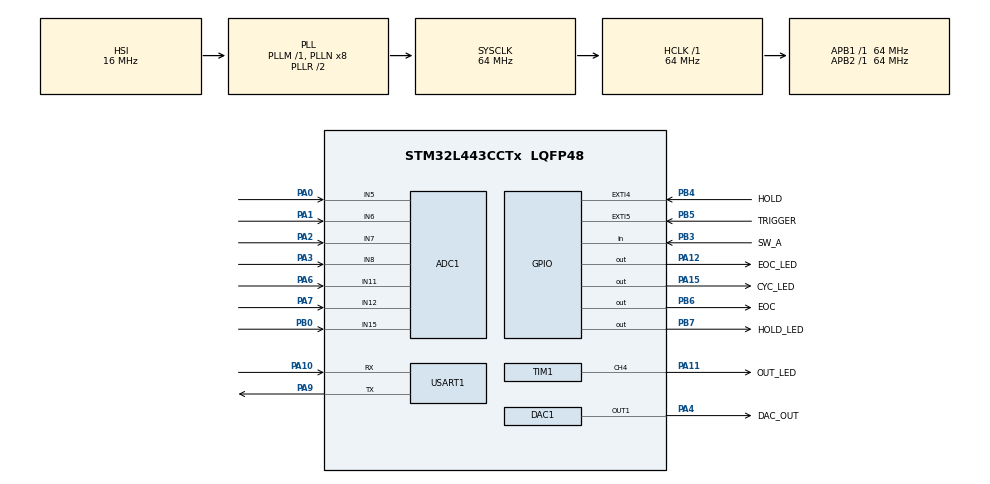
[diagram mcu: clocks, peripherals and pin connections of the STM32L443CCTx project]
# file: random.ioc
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ADC1.Channel-0\#ChannelRegularConversion=ADC_CHANNEL_5
ADC1.Channel-1\#ChannelRegularConversion=ADC_CHANNEL_6
ADC1.Channel-2\#ChannelRegularConversion=ADC_CHANNEL_7
ADC1.Channel-3\#ChannelRegularConversion=ADC_CHANNEL_8
ADC1.Channel-4\#ChannelRegularConversion=ADC_CHANNEL_11
ADC1.Channel-5\#ChannelRegularConversion=ADC_CHANNEL_12
ADC1.Channel-6\#ChannelRegularConversion=ADC_CHANNEL_15
ADC1.ClockPrescaler=ADC_CLOCK_ASYNC_DIV4
ADC1.DMAContinuousRequests=ENABLE
ADC1.EOCSelection=ADC_EOC_SINGLE_CONV
ADC1.ExternalTrigConv=ADC_EXTERNALTRIG_T2_TRGO
ADC1.NbrOfConversion=7
ADC1.NbrOfConversionFlag=1
ADC1.OffsetNumber-0\#ChannelRegularConversion=ADC_OFFSET_NONE
ADC1.OffsetNumber-1\#ChannelRegularConversion=ADC_OFFSET_NONE
ADC1.OffsetNumber-2\#ChannelRegularConversion=ADC_OFFSET_NONE
ADC1.OffsetNumber-3\#ChannelRegularConversion=ADC_OFFSET_NONE
ADC1.OffsetNumber-4\#ChannelRegularConversion=ADC_OFFSET_NONE
ADC1.OffsetNumber-5\#ChannelRegularConversion=ADC_OFFSET_NONE
ADC1.OffsetNumber-6\#ChannelRegularConversion=ADC_OFFSET_NONE
ADC1.OversamplingMode=DISABLE
ADC1.Rank-0\#ChannelRegularConversion=1
ADC1.Rank-1\#ChannelRegularConversion=2
ADC1.Rank-2\#ChannelRegularConversion=3
ADC1.Rank-3\#ChannelRegularConversion=4
ADC1.Rank-4\#ChannelRegularConversion=5
ADC1.Rank-5\#ChannelRegularConversion=6
ADC1.Rank-6\#ChannelRegularConversion=7
ADC1.SamplingTime-0\#ChannelRegularConversion=ADC_SAMPLETIME_6CYCLES_5
ADC1.SamplingTime-1\#ChannelRegularConversion=ADC_SAMPLETIME_6CYCLES_5
ADC1.SamplingTime-2\#ChannelRegularConversion=ADC_SAMPLETIME_6CYCLES_5
ADC1.SamplingTime-3\#ChannelRegularConversion=ADC_SAMPLETIME_6CYCLES_5
ADC1.SamplingTime-4\#ChannelRegularConversion=ADC_SAMPLETIME_6CYCLES_5
ADC1.SamplingTime-5\#ChannelRegularConversion=ADC_SAMPLETIME_6CYCLES_5
ADC1.SamplingTime-6\#ChannelRegularConversion=ADC_SAMPLETIME_6CYCLES_5
ADC1.master=1
DAC1.DAC_Trigger-DAC_OUT1_ExtAndInt=DAC_TRIGGER_T2_TRGO
Dma.ADC1.2.Direction=DMA_PERIPH_TO_MEMORY
Dma.ADC1.2.Instance=DMA1_Channel1
Dma.ADC1.2.MemDataAlignment=DMA_MDATAALIGN_HALFWORD
Dma.ADC1.2.MemInc=DMA_MINC_ENABLE
Dma.ADC1.2.Mode=DMA_CIRCULAR
Dma.ADC1.2.PeriphDataAlignment=DMA_PDATAALIGN_HALFWORD
Dma.ADC1.2.PeriphInc=DMA_PINC_DISABLE
Dma.ADC1.2.Priority=DMA_PRIORITY_MEDIUM
Dma.DAC_CH1.3.Direction=DMA_MEMORY_TO_PERIPH
Dma.DAC_CH1.3.Instance=DMA1_Channel3
Dma.DAC_CH1.3.MemDataAlignment=DMA_MDATAALIGN_HALFWORD
Dma.DAC_CH1.3.MemInc=DMA_MINC_ENABLE
Dma.DAC_CH1.3.Mode=DMA_NORMAL
Dma.DAC_CH1.3.PeriphDataAlignment=DMA_PDATAALIGN_HALFWORD
Dma.DAC_CH1.3.PeriphInc=DMA_PINC_DISABLE
Dma.DAC_CH1.3.Priority=DMA_PRIORITY_MEDIUM
Dma.Request0=USART1_RX
Dma.Request1=USART1_TX
Dma.Request2=ADC1
Dma.Request3=DAC_CH1
Dma.USART1_RX.0.Direction=DMA_PERIPH_TO_MEMORY
Dma.USART1_RX.0.Instance=DMA1_Channel5
Dma.USART1_RX.0.MemDataAlignment=DMA_MDATAALIGN_BYTE
Dma.USART1_RX.0.MemInc=DMA_MINC_ENABLE
Dma.USART1_RX.0.Mode=DMA_NORMAL
Dma.USART1_RX.0.PeriphDataAlignment=DMA_PDATAALIGN_BYTE
Dma.USART1_RX.0.PeriphInc=DMA_PINC_DISABLE
Dma.USART1_RX.0.Priority=DMA_PRIORITY_LOW
Dma.USART1_TX.1.Direction=DMA_MEMORY_TO_PERIPH
Dma.USART1_TX.1.Instance=DMA1_Channel4
Dma.USART1_TX.1.MemDataAlignment=DMA_MDATAALIGN_BYTE
Dma.USART1_TX.1.MemInc=DMA_MINC_ENABLE
Dma.USART1_TX.1.Mode=DMA_NORMAL
Dma.USART1_TX.1.PeriphDataAlignment=DMA_PDATAALIGN_BYTE
Dma.USART1_TX.1.PeriphInc=DMA_PINC_DISABLE
Dma.USART1_TX.1.Priority=DMA_PRIORITY_LOW
Mcu.Family=STM32L4
Mcu.Name=STM32L443CCTx
Mcu.Package=LQFP48
NVIC.ADC1_IRQn=true\:0\:0\:false\:false\:true\:true\:true
NVIC.DMA1_Channel1_IRQn=true\:0\:0\:false\:false\:true\:false\:true
NVIC.DMA1_Channel3_IRQn=true\:0\:0\:false\:false\:true\:false\:true
NVIC.DMA1_Channel4_IRQn=true\:0\:0\:false\:false\:true\:false\:true
NVIC.DMA1_Channel5_IRQn=true\:0\:0\:false\:false\:true\:false\:true
NVIC.EXTI4_IRQn=true\:3\:0\:true\:false\:true\:true\:true
NVIC.EXTI9_5_IRQn=true\:3\:0\:true\:false\:true\:true\:true
NVIC.PriorityGroup=NVIC_PRIORITYGROUP_4
NVIC.TIM2_IRQn=true\:0\:0\:false\:false\:true\:true\:true
NVIC.TIM6_DAC_IRQn=true\:0\:0\:false\:false\:true\:true\:true
NVIC.USART1_IRQn=true\:4\:0\:true\:false\:true\:true\:true
PA0.Signal=ADCx_IN5
PA1.Signal=ADCx_IN6
PA10.Mode=Asynchronous
PA10.Signal=USART1_RX
PA11.GPIO_Label=OUT_LED
PA11.Signal=S_TIM1_CH4
PA12.GPIO_Label=EOC_LED
PA12.Signal=GPIO_Output
PA13\ (JTMS-SWDIO).Mode=Serial_Wire
PA13\ (JTMS-SWDIO).Signal=SYS_JTMS-SWDIO
PA14\ (JTCK-SWCLK).Mode=Serial_Wire
PA14\ (JTCK-SWCLK).Signal=SYS_JTCK-SWCLK
PA15\ (JTDI).GPIO_Label=CYC_LED
PA15\ (JTDI).Signal=GPIO_Output
PA2.Signal=ADCx_IN7
PA3.Signal=ADCx_IN8
PA4.GPIO_Label=DAC_OUT
PA4.Signal=COMP_DAC11_group
PA6.Signal=ADCx_IN11
PA7.Signal=ADCx_IN12
PA9.Mode=Asynchronous
PA9.Signal=USART1_TX
PB0.Signal=ADCx_IN15
PB3\ (JTDO-TRACESWO).GPIO_Label=SW_A
PB3\ (JTDO-TRACESWO).GPIO_PuPd=GPIO_PULLUP
PB3\ (JTDO-TRACESWO).Signal=GPIO_Input
PB4\ (NJTRST).GPIO_Label=HOLD
PB4\ (NJTRST).GPIO_ModeDefaultEXTI=GPIO_MODE_IT_RISING_FALLING
PB4\ (NJTRST).Signal=GPXTI4
PB5.GPIO_Label=TRIGGER
PB5.GPIO_ModeDefaultEXTI=GPIO_MODE_IT_RISING_FALLING
PB5.Signal=GPXTI5
PB6.GPIO_Label=EOC
PB6.Signal=GPIO_Output
PB7.GPIO_Label=HOLD_LED
PB7.Signal=GPIO_Output
ProjectManager.HeapSize=0x200
ProjectManager.StackSize=0x400
ProjectManager.TargetToolchain=Makefile
RCC.ADCFreq_Value=64000000
RCC.AHBFreq_Value=64000000
RCC.APB1Freq_Value=64000000
RCC.APB1TimFreq_Value=64000000
RCC.APB2Freq_Value=64000000
RCC.APB2TimFreq_Value=64000000
RCC.CortexFreq_Value=64000000
RCC.HCLKFreq_Value=64000000
RCC.HSE_VALUE=8000000
RCC.HSI48_VALUE=48000000
RCC.HSI_VALUE=16000000
RCC.LSE_VALUE=32768
RCC.MSI_VALUE=4000000
RCC.PLLSourceVirtual=RCC_PLLSOURCE_HSI
RCC.SYSCLKFreq_VALUE=64000000
RCC.SYSCLKSource=RCC_SYSCLKSOURCE_PLLCLK
RCC.USBFreq_Value=64000000
RCC.VCOOutputFreq_Value=128000000
SH.ADCx_IN11.0=ADC1_IN11,IN11-Single-Ended
SH.ADCx_IN12.0=ADC1_IN12,IN12-Single-Ended
SH.ADCx_IN15.0=ADC1_IN15,IN15-Single-Ended
SH.ADCx_IN5.0=ADC1_IN5,IN5-Single-Ended
SH.ADCx_IN6.0=ADC1_IN6,IN6-Single-Ended
SH.ADCx_IN7.0=ADC1_IN7,IN7-Single-Ended
SH.ADCx_IN8.0=ADC1_IN8,IN8-Single-Ended
SH.COMP_DAC11_group.0=DAC1_OUT1,DAC_OUT1_ExtAndInt
SH.S_TIM1_CH4.0=TIM1_CH4,PWM Generation4 CH4
TIM1.Channel-PWM\ Generation4\ CH4=TIM_CHANNEL_4
TIM1.Period=255
TIM1.Prescaler=984
TIM2.Period=1450
TIM2.TIM_MasterOutputTrigger=TIM_TRGO_UPDATE
TIM6.Period=1000
TIM6.TIM_MasterOutputTrigger=TIM_TRGO_UPDATE
TIM7.Period=49000
TIM7.TIM_MasterOutputTrigger=TIM_TRGO_UPDATE
USART1.VirtualMode-Asynchronous=VM_ASYNC
VP_TIM1_VS_ClockSourceINT.Mode=Internal
VP_TIM1_VS_ClockSourceITR.Mode=TriggerSource_ITR1
VP_TIM1_VS_ControllerModeTrigger.Mode=Trigger Mode
VP_TIM2_VS_ClockSourceINT.Mode=Internal
VP_TIM6_VS_ClockSourceINT.Mode=Enable_Timer
VP_TIM7_VS_ClockSourceINT.Mode=Enable_Timer
board=custom

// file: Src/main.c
/* USER CODE BEGIN Header */
/**
  ******************************************************************************
  * @file           : main.c
  * @brief          : Main program body
  ******************************************************************************
  * @attention
  *
  * <h2><center>&copy; Copyright (c) 2019 STMicroelectronics.
  * All rights reserved.</center></h2>
  *
  * This software component is licensed by ST under BSD 3-Clause license,
  * the "License"; You may not use this file except in compliance with the
  * License. You may obtain a copy of the License at:
  *                        opensource.org/licenses/BSD-3-Clause
  *
  ******************************************************************************
  */
/* USER CODE END Header */

#include "main.h"

/* USER CODE BEGIN Includes */
#include <string.h>
#include <math.h>
#include <stdio.h>
#include <stdlib.h>
/* USER CODE END Includes */

/* USER CODE BEGIN PTD */
enum CLI_COMMAND
{
  CLI_ERR,
  CLI_REF,
  CLI_DAC,
  CLI_VOUT,
  CLI_CAL,
  CLI_SAVE,
  CLI_LOAD,
  CLI_SIZE,
  CLI_RESET,
  CLI_HELP
};
/* USER CODE END PTD */

/* USER CODE BEGIN PD */
#define DRAWCSV 0
#define FLASH_USER_ADDR 0x08010000 /* Start @ of user Flash area */
/* USER CODE END PD */

/* USER CODE BEGIN PM */
#define log(M, ...)                                                                   \
  sprintf(uartMessage, "[LOG] (%s:%d) - " M "\n", __FILE__, __LINE__, ##__VA_ARGS__); \
  HAL_UART_Transmit(&huart1, (uint8_t *)uartMessage, strlen(uartMessage), HAL_MAX_DELAY);

#define printcl(M, ...)                               \
  sprintf(uartMessage, "\033[K" M "", ##__VA_ARGS__); \
  HAL_UART_Transmit(&huart1, (uint8_t *)uartMessage, strlen(uartMessage), HAL_MAX_DELAY);

#define print(M, ...)                           \
  sprintf(uartMessage, "" M "", ##__VA_ARGS__); \
  HAL_UART_Transmit(&huart1, (uint8_t *)uartMessage, strlen(uartMessage), HAL_MAX_DELAY);
/* USER CODE END PM */

ADC_HandleTypeDef hadc1;
DMA_HandleTypeDef hdma_adc1;

DAC_HandleTypeDef hdac1;
DMA_HandleTypeDef hdma_dac_ch1;

TIM_HandleTypeDef htim1;
TIM_HandleTypeDef htim2;
TIM_HandleTypeDef htim6;
TIM_HandleTypeDef htim7;

UART_HandleTypeDef huart1;
DMA_HandleTypeDef hdma_usart1_rx;
DMA_HandleTypeDef hdma_usart1_tx;

/* USER CODE BEGIN PV */

volatile GPIO_PinState switchState;
volatile GPIO_PinState triggerState;
volatile GPIO_PinState holdState;
volatile uint8_t outLedVal;
volatile uint16_t adcValues[7];
volatile uint16_t dacValue[1];
uint16_t targetDac;
char uartMessage[255];

volatile uint32_t printTime = 0;
volatile uint32_t trig_Time = 0;
uint8_t TRIGGER_HOLD = 0;
uint8_t RETRIGGER = 0;
uint8_t RANDOM = 2;
uint8_t CYCLE_START = 0;

// Callibration Defines
const int ADC_RESOLUTION = 12;
uint16_t SAMPLES = 50; // 5000

uint16_t MAXADC;                 // maximum possible reading from ADC
float VREF = 3.3;                // ADC reference voltage (= power supply)
float VINPUT = 1.65;             // ADC input voltage from Normalized Jack
int16_t EXPECTED;                // expected ADC reading
int16_t adcCalibration[7] = {0}; // calibration table;
int16_t dacCalibration = 0;
int16_t adcOffset[7] = {0}; // offset table;

#define SEQUENCE_SIZE 16
int16_t sequence[SEQUENCE_SIZE] = {0};
uint8_t triggerSequence[SEQUENCE_SIZE] = {0};
uint8_t currentStep = 0;
uint8_t currentStepTrigger = 0;

uint8_t sequenceFollowTrigger = 0;
uint8_t incrementStep = 0;

float chance = 0.0;
float chance_controls = 0.0;
float range = 0.0;
float range_controls = 0.0;
float offset = 0.0;
float offset_controls = 0.0;

float SAMPLERATE = 0;
const uint32_t TARGET_OFFSET = 127;
/* USER CODE END PV */

void SystemClock_Config(void);
static void MX_GPIO_Init(void);
static void MX_DMA_Init(void);
static void MX_ADC1_Init(void);
static void MX_DAC1_Init(void);
static void MX_TIM1_Init(void);
static void MX_TIM2_Init(void);
static void MX_TIM6_Init(void);
static void MX_TIM7_Init(void);
static void MX_USART1_UART_Init(void);
/* USER CODE BEGIN PFP */
static void LED_introSequence(void);
static GPIO_PinState read_Switch(void);
static void setPWM(uint8_t);

static uint16_t read_ADC_Raw(ADC_Inputs);
static float read_ADC_Normalized(ADC_Inputs);
static float read_ADC_Voltage(ADC_Inputs);
static void Write_Flash(uint32_t, uint32_t *, uint32_t);
static uint32_t Read_Flash(uint32_t);
static uint32_t Get_Page(uint32_t);
static void save_Calibration(void);
static void load_Calibration(void);
/* USER CODE END PFP */

int main(void)
{

  /* MCU Configuration--------------------------------------------------------*/

  /* Reset of all peripherals, Initializes the Flash interface and the Systick. */
  HAL_Init();

  /* Configure the system clock */
  SystemClock_Config();

  /* Initialize all configured peripherals */
  MX_GPIO_Init();
  MX_DMA_Init();
  MX_ADC1_Init();
  MX_DAC1_Init();
  MX_TIM1_Init();
  MX_TIM2_Init();
  MX_TIM6_Init();
  MX_TIM7_Init();
  MX_USART1_UART_Init();
  /* USER CODE BEGIN 2 */
  dacValue[0] = 0;
  MAXADC = (1 << ADC_RESOLUTION) - 1;  // maximum possible reading from ADC
  EXPECTED = MAXADC * (VINPUT / VREF); // expected ADC reading

  SAMPLERATE = HAL_RCC_GetHCLKFreq() / (float)htim2.Init.Period;

  HAL_DAC_Init(&hdac1);
  HAL_TIM_PWM_Start(&htim1, TIM_CHANNEL_4);
  HAL_TIM_Base_Start_IT(&htim2);
  HAL_ADC_Start_DMA(&hadc1, (uint32_t *)adcValues, 7);
  HAL_DAC_Start_DMA(&hdac1, DAC_CHANNEL_1, (uint32_t *)dacValue, 1, DAC_ALIGN_12B_R);

  load_Calibration();
  LED_introSequence();
  outLedVal = 0;

  srand(read_ADC_Raw(ADC_IN_CV) + read_ADC_Raw(ADC_ATTACK_POT));
  for (int i = 0; i < SEQUENCE_SIZE; i++)
  {
    sequence[i] = rand() % MAXADC;
    triggerSequence[i] = rand() % 2;
  }

  /* USER CODE END 2 */

  /* Infinite loop */
  /* USER CODE BEGIN WHILE */
  while (1)
  {
    read_Switch();

    chance = read_ADC_Normalized(ADC_ATTACK_POT) + read_ADC_Normalized(ADC_ATTACK_CV);
    if (chance < 0.0008)
      chance = 0.0;
    if (chance > 1.0)
      chance = 1.0;

    range = read_ADC_Normalized(ADC_RELEASE_POT) + read_ADC_Normalized(ADC_RELEASE_CV);
    if (range < 0.0008)
      range = 0.0;
    if (range > 1.0)
      range = 1.0;

    offset = read_ADC_Normalized(ADC_SHAPE_Pot) + read_ADC_Normalized(ADC_SHAPE_CV);
    if (offset < 0.0008)
      offset = 0.0;
    if (offset > 1.0)
      offset = 1.0;

    //attack_controls = pow(2.0, attack * 10.0 - 10.0) * 10000.0 - 9.76;
    //release_controls = pow(2.0, release * 10.0 - 10.0) * 10000.0 - 0.0;
    /* USER CODE END WHILE */

    if (HAL_GetTick() - trig_Time > 10)
    {
      HAL_GPIO_WritePin(EOC_LED_GPIO_Port, EOC_LED_Pin, GPIO_PIN_RESET);
      HAL_GPIO_WritePin(EOC_GPIO_Port, EOC_Pin, GPIO_PIN_SET);
    }

    /* USER CODE BEGIN 3 */
    outLedVal = targetDac >> 4;
    setPWM(outLedVal);
  }
  /* USER CODE END 3 */
}

void SystemClock_Config(void)
{
  RCC_OscInitTypeDef RCC_OscInitStruct = {0};
  RCC_ClkInitTypeDef RCC_ClkInitStruct = {0};
  RCC_PeriphCLKInitTypeDef PeriphClkInit = {0};

  /** Initializes the CPU, AHB and APB busses clocks
  */
  RCC_OscInitStruct.OscillatorType = RCC_OSCILLATORTYPE_HSI;
  RCC_OscInitStruct.HSIState = RCC_HSI_ON;
  RCC_OscInitStruct.HSICalibrationValue = RCC_HSICALIBRATION_DEFAULT;
  RCC_OscInitStruct.PLL.PLLState = RCC_PLL_ON;
  RCC_OscInitStruct.PLL.PLLSource = RCC_PLLSOURCE_HSI;
  RCC_OscInitStruct.PLL.PLLM = 1;
  RCC_OscInitStruct.PLL.PLLN = 8;
  RCC_OscInitStruct.PLL.PLLP = RCC_PLLP_DIV7;
  RCC_OscInitStruct.PLL.PLLQ = RCC_PLLQ_DIV2;
  RCC_OscInitStruct.PLL.PLLR = RCC_PLLR_DIV2;
  if (HAL_RCC_OscConfig(&RCC_OscInitStruct) != HAL_OK)
  {
    Error_Handler();
  }
  /** Initializes the CPU, AHB and APB busses clocks
  */
  RCC_ClkInitStruct.ClockType = RCC_CLOCKTYPE_HCLK | RCC_CLOCKTYPE_SYSCLK | RCC_CLOCKTYPE_PCLK1 | RCC_CLOCKTYPE_PCLK2;
  RCC_ClkInitStruct.SYSCLKSource = RCC_SYSCLKSOURCE_PLLCLK;
  RCC_ClkInitStruct.AHBCLKDivider = RCC_SYSCLK_DIV1;
  RCC_ClkInitStruct.APB1CLKDivider = RCC_HCLK_DIV1;
  RCC_ClkInitStruct.APB2CLKDivider = RCC_HCLK_DIV1;

  if (HAL_RCC_ClockConfig(&RCC_ClkInitStruct, FLASH_LATENCY_3) != HAL_OK)
  {
    Error_Handler();
  }
  PeriphClkInit.PeriphClockSelection = RCC_PERIPHCLK_USART1 | RCC_PERIPHCLK_ADC;
  PeriphClkInit.Usart1ClockSelection = RCC_USART1CLKSOURCE_PCLK2;
  PeriphClkInit.AdcClockSelection = RCC_ADCCLKSOURCE_PLLSAI1;
  PeriphClkInit.PLLSAI1.PLLSAI1Source = RCC_PLLSOURCE_HSI;
  PeriphClkInit.PLLSAI1.PLLSAI1M = 1;
  PeriphClkInit.PLLSAI1.PLLSAI1N = 8;
  PeriphClkInit.PLLSAI1.PLLSAI1P = RCC_PLLP_DIV7;
  PeriphClkInit.PLLSAI1.PLLSAI1Q = RCC_PLLQ_DIV2;
  PeriphClkInit.PLLSAI1.PLLSAI1R = RCC_PLLR_DIV2;
  PeriphClkInit.PLLSAI1.PLLSAI1ClockOut = RCC_PLLSAI1_ADC1CLK;
  if (HAL_RCCEx_PeriphCLKConfig(&PeriphClkInit) != HAL_OK)
  {
    Error_Handler();
  }
  /** Configure the main internal regulator output voltage
  */
  if (HAL_PWREx_ControlVoltageScaling(PWR_REGULATOR_VOLTAGE_SCALE1) != HAL_OK)
  {
    Error_Handler();
  }
}

static void MX_ADC1_Init(void)
{

  ADC_ChannelConfTypeDef sConfig = {0};

  /** Common config
  */
  hadc1.Instance = ADC1;
  hadc1.Init.ClockPrescaler = ADC_CLOCK_ASYNC_DIV4;
  hadc1.Init.Resolution = ADC_RESOLUTION_12B;
  hadc1.Init.DataAlign = ADC_DATAALIGN_RIGHT;
  hadc1.Init.ScanConvMode = ADC_SCAN_ENABLE;
  hadc1.Init.EOCSelection = ADC_EOC_SINGLE_CONV;
  hadc1.Init.LowPowerAutoWait = DISABLE;
  hadc1.Init.ContinuousConvMode = DISABLE;
  hadc1.Init.NbrOfConversion = 7;
  hadc1.Init.DiscontinuousConvMode = DISABLE;
  hadc1.Init.ExternalTrigConv = ADC_EXTERNALTRIG_T2_TRGO;
  hadc1.Init.ExternalTrigConvEdge = ADC_EXTERNALTRIGCONVEDGE_RISING;
  hadc1.Init.DMAContinuousRequests = ENABLE;
  hadc1.Init.Overrun = ADC_OVR_DATA_PRESERVED;
  hadc1.Init.OversamplingMode = DISABLE;
  if (HAL_ADC_Init(&hadc1) != HAL_OK)
  {
    Error_Handler();
  }
  /** Configure Regular Channel
  */
  sConfig.Channel = ADC_CHANNEL_5;
  sConfig.Rank = ADC_REGULAR_RANK_1;
  sConfig.SamplingTime = ADC_SAMPLETIME_6CYCLES_5;
  sConfig.SingleDiff = ADC_SINGLE_ENDED;
  sConfig.OffsetNumber = ADC_OFFSET_NONE;
  sConfig.Offset = 0;
  if (HAL_ADC_ConfigChannel(&hadc1, &sConfig) != HAL_OK)
  {
    Error_Handler();
  }
  /** Configure Regular Channel
  */
  sConfig.Channel = ADC_CHANNEL_6;
  sConfig.Rank = ADC_REGULAR_RANK_2;
  if (HAL_ADC_ConfigChannel(&hadc1, &sConfig) != HAL_OK)
  {
    Error_Handler();
  }
  /** Configure Regular Channel
  */
  sConfig.Channel = ADC_CHANNEL_7;
  sConfig.Rank = ADC_REGULAR_RANK_3;
  if (HAL_ADC_ConfigChannel(&hadc1, &sConfig) != HAL_OK)
  {
    Error_Handler();
  }
  /** Configure Regular Channel
  */
  sConfig.Channel = ADC_CHANNEL_8;
  sConfig.Rank = ADC_REGULAR_RANK_4;
  if (HAL_ADC_ConfigChannel(&hadc1, &sConfig) != HAL_OK)
  {
    Error_Handler();
  }
  /** Configure Regular Channel
  */
  sConfig.Channel = ADC_CHANNEL_11;
  sConfig.Rank = ADC_REGULAR_RANK_5;
  if (HAL_ADC_ConfigChannel(&hadc1, &sConfig) != HAL_OK)
  {
    Error_Handler();
  }
  /** Configure Regular Channel
  */
  sConfig.Channel = ADC_CHANNEL_12;
  sConfig.Rank = ADC_REGULAR_RANK_6;
  if (HAL_ADC_ConfigChannel(&hadc1, &sConfig) != HAL_OK)
  {
    Error_Handler();
  }
  /** Configure Regular Channel
  */
  sConfig.Channel = ADC_CHANNEL_15;
  sConfig.Rank = ADC_REGULAR_RANK_7;
  if (HAL_ADC_ConfigChannel(&hadc1, &sConfig) != HAL_OK)
  {
    Error_Handler();
  }
}

static void MX_DAC1_Init(void)
{

  DAC_ChannelConfTypeDef sConfig = {0};

  /** DAC Initialization
  */
  hdac1.Instance = DAC1;
  if (HAL_DAC_Init(&hdac1) != HAL_OK)
  {
    Error_Handler();
  }
  /** DAC channel OUT1 config
  */
  sConfig.DAC_SampleAndHold = DAC_SAMPLEANDHOLD_DISABLE;
  sConfig.DAC_Trigger = DAC_TRIGGER_T2_TRGO;
  sConfig.DAC_OutputBuffer = DAC_OUTPUTBUFFER_DISABLE;
  sConfig.DAC_ConnectOnChipPeripheral = DAC_CHIPCONNECT_DISABLE;
  sConfig.DAC_UserTrimming = DAC_TRIMMING_FACTORY;
  if (HAL_DAC_ConfigChannel(&hdac1, &sConfig, DAC_CHANNEL_1) != HAL_OK)
  {
    Error_Handler();
  }
}

static void MX_TIM1_Init(void)
{

  TIM_ClockConfigTypeDef sClockSourceConfig = {0};
  TIM_SlaveConfigTypeDef sSlaveConfig = {0};
  TIM_MasterConfigTypeDef sMasterConfig = {0};
  TIM_OC_InitTypeDef sConfigOC = {0};
  TIM_BreakDeadTimeConfigTypeDef sBreakDeadTimeConfig = {0};

  htim1.Instance = TIM1;
  htim1.Init.Prescaler = 984;
  htim1.Init.CounterMode = TIM_COUNTERMODE_UP;
  htim1.Init.Period = 255;
  htim1.Init.ClockDivision = TIM_CLOCKDIVISION_DIV1;
  htim1.Init.RepetitionCounter = 0;
  htim1.Init.AutoReloadPreload = TIM_AUTORELOAD_PRELOAD_DISABLE;
  if (HAL_TIM_Base_Init(&htim1) != HAL_OK)
  {
    Error_Handler();
  }
  sClockSourceConfig.ClockSource = TIM_CLOCKSOURCE_INTERNAL;
  if (HAL_TIM_ConfigClockSource(&htim1, &sClockSourceConfig) != HAL_OK)
  {
    Error_Handler();
  }
  if (HAL_TIM_PWM_Init(&htim1) != HAL_OK)
  {
    Error_Handler();
  }
  sSlaveConfig.SlaveMode = TIM_SLAVEMODE_TRIGGER;
  sSlaveConfig.InputTrigger = TIM_TS_ITR1;
  if (HAL_TIM_SlaveConfigSynchronization(&htim1, &sSlaveConfig) != HAL_OK)
  {
    Error_Handler();
  }
  sMasterConfig.MasterOutputTrigger = TIM_TRGO_RESET;
  sMasterConfig.MasterOutputTrigger2 = TIM_TRGO2_RESET;
  sMasterConfig.MasterSlaveMode = TIM_MASTERSLAVEMODE_DISABLE;
  if (HAL_TIMEx_MasterConfigSynchronization(&htim1, &sMasterConfig) != HAL_OK)
  {
    Error_Handler();
  }
  sConfigOC.OCMode = TIM_OCMODE_PWM1;
  sConfigOC.Pulse = 0;
  sConfigOC.OCPolarity = TIM_OCPOLARITY_HIGH;
  sConfigOC.OCFastMode = TIM_OCFAST_DISABLE;
  sConfigOC.OCIdleState = TIM_OCIDLESTATE_RESET;
  sConfigOC.OCNIdleState = TIM_OCNIDLESTATE_RESET;
  if (HAL_TIM_PWM_ConfigChannel(&htim1, &sConfigOC, TIM_CHANNEL_4) != HAL_OK)
  {
    Error_Handler();
  }
  sBreakDeadTimeConfig.OffStateRunMode = TIM_OSSR_DISABLE;
  sBreakDeadTimeConfig.OffStateIDLEMode = TIM_OSSI_DISABLE;
  sBreakDeadTimeConfig.LockLevel = TIM_LOCKLEVEL_OFF;
  sBreakDeadTimeConfig.DeadTime = 0;
  sBreakDeadTimeConfig.BreakState = TIM_BREAK_DISABLE;
  sBreakDeadTimeConfig.BreakPolarity = TIM_BREAKPOLARITY_HIGH;
  sBreakDeadTimeConfig.BreakFilter = 0;
  sBreakDeadTimeConfig.Break2State = TIM_BREAK2_DISABLE;
  sBreakDeadTimeConfig.Break2Polarity = TIM_BREAK2POLARITY_HIGH;
  sBreakDeadTimeConfig.Break2Filter = 0;
  sBreakDeadTimeConfig.AutomaticOutput = TIM_AUTOMATICOUTPUT_DISABLE;
  if (HAL_TIMEx_ConfigBreakDeadTime(&htim1, &sBreakDeadTimeConfig) != HAL_OK)
  {
    Error_Handler();
  }
  HAL_TIM_MspPostInit(&htim1);
}

static void MX_TIM2_Init(void)
{

  TIM_ClockConfigTypeDef sClockSourceConfig = {0};
  TIM_MasterConfigTypeDef sMasterConfig = {0};

  htim2.Instance = TIM2;
  htim2.Init.Prescaler = 0;
  htim2.Init.CounterMode = TIM_COUNTERMODE_UP;
  htim2.Init.Period = 1450;
  htim2.Init.ClockDivision = TIM_CLOCKDIVISION_DIV1;
  htim2.Init.AutoReloadPreload = TIM_AUTORELOAD_PRELOAD_DISABLE;
  if (HAL_TIM_Base_Init(&htim2) != HAL_OK)
  {
    Error_Handler();
  }
  sClockSourceConfig.ClockSource = TIM_CLOCKSOURCE_INTERNAL;
  if (HAL_TIM_ConfigClockSource(&htim2, &sClockSourceConfig) != HAL_OK)
  {
    Error_Handler();
  }
  sMasterConfig.MasterOutputTrigger = TIM_TRGO_UPDATE;
  sMasterConfig.MasterSlaveMode = TIM_MASTERSLAVEMODE_DISABLE;
  if (HAL_TIMEx_MasterConfigSynchronization(&htim2, &sMasterConfig) != HAL_OK)
  {
    Error_Handler();
  }
}

static void MX_TIM6_Init(void)
{

  TIM_MasterConfigTypeDef sMasterConfig = {0};

  htim6.Instance = TIM6;
  htim6.Init.Prescaler = 0;
  htim6.Init.CounterMode = TIM_COUNTERMODE_UP;
  htim6.Init.Period = 1000;
  htim6.Init.AutoReloadPreload = TIM_AUTORELOAD_PRELOAD_DISABLE;
  if (HAL_TIM_Base_Init(&htim6) != HAL_OK)
  {
    Error_Handler();
  }
  sMasterConfig.MasterOutputTrigger = TIM_TRGO_UPDATE;
  sMasterConfig.MasterSlaveMode = TIM_MASTERSLAVEMODE_DISABLE;
  if (HAL_TIMEx_MasterConfigSynchronization(&htim6, &sMasterConfig) != HAL_OK)
  {
    Error_Handler();
  }
}

static void MX_TIM7_Init(void)
{

  TIM_MasterConfigTypeDef sMasterConfig = {0};

  htim7.Instance = TIM7;
  htim7.Init.Prescaler = 0;
  htim7.Init.CounterMode = TIM_COUNTERMODE_UP;
  htim7.Init.Period = 49000;
  htim7.Init.AutoReloadPreload = TIM_AUTORELOAD_PRELOAD_DISABLE;
  if (HAL_TIM_Base_Init(&htim7) != HAL_OK)
  {
    Error_Handler();
  }
  sMasterConfig.MasterOutputTrigger = TIM_TRGO_UPDATE;
  sMasterConfig.MasterSlaveMode = TIM_MASTERSLAVEMODE_DISABLE;
  if (HAL_TIMEx_MasterConfigSynchronization(&htim7, &sMasterConfig) != HAL_OK)
  {
    Error_Handler();
  }
}

static void MX_USART1_UART_Init(void)
{

  huart1.Instance = USART1;
  huart1.Init.BaudRate = 115200;
  huart1.Init.WordLength = UART_WORDLENGTH_8B;
  huart1.Init.StopBits = UART_STOPBITS_1;
  huart1.Init.Parity = UART_PARITY_NONE;
  huart1.Init.Mode = UART_MODE_TX_RX;
  huart1.Init.HwFlowCtl = UART_HWCONTROL_NONE;
  huart1.Init.OverSampling = UART_OVERSAMPLING_16;
  huart1.Init.OneBitSampling = UART_ONE_BIT_SAMPLE_DISABLE;
  huart1.AdvancedInit.AdvFeatureInit = UART_ADVFEATURE_NO_INIT;
  if (HAL_UART_Init(&huart1) != HAL_OK)
  {
    Error_Handler();
  }
}

static void MX_DMA_Init(void)
{

  /* DMA controller clock enable */
  __HAL_RCC_DMA1_CLK_ENABLE();

  /* DMA interrupt init */
  /* DMA1_Channel1_IRQn interrupt configuration */
  HAL_NVIC_SetPriority(DMA1_Channel1_IRQn, 0, 0);
  HAL_NVIC_EnableIRQ(DMA1_Channel1_IRQn);
  /* DMA1_Channel3_IRQn interrupt configuration */
  HAL_NVIC_SetPriority(DMA1_Channel3_IRQn, 0, 0);
  HAL_NVIC_EnableIRQ(DMA1_Channel3_IRQn);
  /* DMA1_Channel4_IRQn interrupt configuration */
  HAL_NVIC_SetPriority(DMA1_Channel4_IRQn, 0, 0);
  HAL_NVIC_EnableIRQ(DMA1_Channel4_IRQn);
  /* DMA1_Channel5_IRQn interrupt configuration */
  HAL_NVIC_SetPriority(DMA1_Channel5_IRQn, 0, 0);
  HAL_NVIC_EnableIRQ(DMA1_Channel5_IRQn);
}

static void MX_GPIO_Init(void)
{
  GPIO_InitTypeDef GPIO_InitStruct = {0};

  /* GPIO Ports Clock Enable */
  __HAL_RCC_GPIOA_CLK_ENABLE();
  __HAL_RCC_GPIOB_CLK_ENABLE();

  /*Configure GPIO pin Output Level */
  HAL_GPIO_WritePin(GPIOA, EOC_LED_Pin | CYC_LED_Pin, GPIO_PIN_RESET);

  /*Configure GPIO pin Output Level */
  HAL_GPIO_WritePin(GPIOB, EOC_Pin | HOLD_LED_Pin, GPIO_PIN_RESET);

  /*Configure GPIO pins : EOC_LED_Pin CYC_LED_Pin */
  GPIO_InitStruct.Pin = EOC_LED_Pin | CYC_LED_Pin;
  GPIO_InitStruct.Mode = GPIO_MODE_OUTPUT_PP;
  GPIO_InitStruct.Pull = GPIO_NOPULL;
  GPIO_InitStruct.Speed = GPIO_SPEED_FREQ_LOW;
  HAL_GPIO_Init(GPIOA, &GPIO_InitStruct);

  /*Configure GPIO pin : SW_A_Pin */
  GPIO_InitStruct.Pin = SW_A_Pin;
  GPIO_InitStruct.Mode = GPIO_MODE_INPUT;
  GPIO_InitStruct.Pull = GPIO_PULLUP;
  HAL_GPIO_Init(SW_A_GPIO_Port, &GPIO_InitStruct);

  /*Configure GPIO pins : HOLD_Pin TRIGGER_Pin */
  GPIO_InitStruct.Pin = HOLD_Pin | TRIGGER_Pin;
  GPIO_InitStruct.Mode = GPIO_MODE_IT_RISING_FALLING;
  GPIO_InitStruct.Pull = GPIO_NOPULL;
  HAL_GPIO_Init(GPIOB, &GPIO_InitStruct);

  /*Configure GPIO pins : EOC_Pin HOLD_LED_Pin */
  GPIO_InitStruct.Pin = EOC_Pin | HOLD_LED_Pin;
  GPIO_InitStruct.Mode = GPIO_MODE_OUTPUT_PP;
  GPIO_InitStruct.Pull = GPIO_NOPULL;
  GPIO_InitStruct.Speed = GPIO_SPEED_FREQ_LOW;
  HAL_GPIO_Init(GPIOB, &GPIO_InitStruct);

  /* EXTI interrupt init*/
  HAL_NVIC_SetPriority(EXTI4_IRQn, 3, 0);
  HAL_NVIC_EnableIRQ(EXTI4_IRQn);

  HAL_NVIC_SetPriority(EXTI9_5_IRQn, 3, 0);
  HAL_NVIC_EnableIRQ(EXTI9_5_IRQn);
}

/* USER CODE BEGIN 4 */
void LED_introSequence()
{
  HAL_GPIO_WritePin(CYC_LED_GPIO_Port, CYC_LED_Pin, GPIO_PIN_SET);
  HAL_Delay(100);
  HAL_GPIO_WritePin(HOLD_LED_GPIO_Port, HOLD_LED_Pin, GPIO_PIN_SET);
  HAL_Delay(100);
  HAL_GPIO_WritePin(EOC_LED_GPIO_Port, EOC_LED_Pin, GPIO_PIN_SET);
  HAL_Delay(100);
  setPWM(255);
  HAL_Delay(100);
  HAL_GPIO_WritePin(CYC_LED_GPIO_Port, CYC_LED_Pin, GPIO_PIN_RESET);
  HAL_Delay(100);
  HAL_GPIO_WritePin(HOLD_LED_GPIO_Port, HOLD_LED_Pin, GPIO_PIN_RESET);
  HAL_Delay(100);
  HAL_GPIO_WritePin(EOC_LED_GPIO_Port, EOC_LED_Pin, GPIO_PIN_RESET);
  HAL_Delay(100);
  setPWM(0);
  HAL_Delay(100);
}

GPIO_PinState read_Switch()
{
  GPIO_PinState t = HAL_GPIO_ReadPin(SW_A_GPIO_Port, SW_A_Pin);
  if (switchState != t)
  {
    switchState = t;
    if (switchState == GPIO_PIN_RESET)
    {
      sequenceFollowTrigger = !sequenceFollowTrigger;
      HAL_GPIO_WritePin(CYC_LED_GPIO_Port, CYC_LED_Pin, sequenceFollowTrigger);
    }
  }
  return t;
}

// Set PWM output value for OUT LED
void setPWM(uint8_t val)
{
  htim1.Instance->CCR4 = val;
}

// update function for DSP
void update()
{
  if (holdState == GPIO_PIN_RESET)
  {
    dacValue[0] = targetDac;
  }
}

// trigger input callback handler
void triggerHandler(GPIO_PinState state)
{
  triggerState = state;
  if (state == GPIO_PIN_SET)
  {
    // add a random value to the sequence
    if ((!sequenceFollowTrigger) || (incrementStep))
    {
      if (rand() % 100 >= (int)(chance * 120.0))
      {
        log("New Value");
        sequence[currentStep] = rand() % MAXADC;
      }
      incrementStep = 0;
      currentStep++;
      if (currentStep >= SEQUENCE_SIZE)
      {
        currentStep = 0;
      }
    }

    if (rand() % 100 >= (int)(chance * 120.0))
    {
      log("New Trigger Value");
      triggerSequence[currentStepTrigger] = rand() % 2;
    }

    // incremet trigger sequence index
    currentStepTrigger++;
    if (currentStepTrigger >= SEQUENCE_SIZE)
    {
      currentStepTrigger = 0;
    }

    targetDac = sequence[currentStep] * range + (offset * MAXADC / 2);

    if (triggerSequence[currentStepTrigger] == 1)
    {
      if (sequenceFollowTrigger)
      {
        incrementStep = 1;
      }
      HAL_GPIO_WritePin(EOC_GPIO_Port, EOC_Pin, GPIO_PIN_RESET);
      HAL_GPIO_WritePin(EOC_LED_GPIO_Port, EOC_LED_Pin, GPIO_PIN_SET);
      trig_Time = HAL_GetTick();
    }
    else
    {
      HAL_GPIO_WritePin(EOC_GPIO_Port, EOC_Pin, GPIO_PIN_SET);
      HAL_GPIO_WritePin(EOC_LED_GPIO_Port, EOC_LED_Pin, GPIO_PIN_RESET);
    }
    log("Trigger! dac: %d \t[%d]\t[%d]", targetDac, currentStep, currentStepTrigger);

    print("\n");
    for (int i = 0; i < SEQUENCE_SIZE; i++)
    {
      if (i == currentStepTrigger)
      {
        print("[%d]", triggerSequence[i]);
      }
      else
      {
        print(" %d ", triggerSequence[i]);
      }
    }
    print("\n");
  }
}

// hold input callback handler
void holdHandler(GPIO_PinState state)
{
  holdState = state;
  HAL_GPIO_WritePin(HOLD_LED_GPIO_Port, HOLD_LED_Pin, state);
}

// ADC conversion complete callback handler
void HAL_ADC_ConvCpltCallback(ADC_HandleTypeDef *hadc)
{
  update();
  HAL_DAC_Start_DMA(&hdac1, DAC_CHANNEL_1, (uint32_t *)dacValue, 1, DAC_ALIGN_12B_R);
}

uint16_t read_ADC_Raw(ADC_Inputs pin)
{
  if (pin < 0)
    pin = 0;
  if (pin > 6)
    pin = 6;

  if (pin < 3) // potentiometers
    return adcValues[pin];
  else // CV
    return MAXADC - (adcValues[pin] - adcCalibration[pin]);
}

float read_ADC_Normalized(ADC_Inputs pin)
{
  if (pin < 0)
    pin = 0;
  if (pin > 6)
    pin = 6;

  if (pin < 3) // potentiometers
    return (float)adcValues[pin] / MAXADC;
  else // CV
    return (float)(adcValues[pin] - adcCalibration[pin]) / MAXADC * -2.0 + 1;
}

float read_ADC_Voltage(ADC_Inputs pin)
{
  if (pin < 0)
    pin = 0;
  if (pin > 6)
    pin = 6;

  if (pin < 3) // potentiometers
    return (float)adcValues[pin] / MAXADC * 3.3;
  else // CV
    return ((float)(adcValues[pin] - adcCalibration[pin]) / (float)MAXADC * 3.3) / -0.33 + 5;
}

void Write_Flash(uint32_t address, uint32_t *data, uint32_t size)
{
  HAL_FLASH_Unlock();
  __HAL_FLASH_CLEAR_FLAG(FLASH_FLAG_OPTVERR | FLASH_FLAG_EOP | FLASH_FLAG_OPERR | FLASH_FLAG_WRPERR | FLASH_FLAG_PGAERR | FLASH_FLAG_PGSERR);
  FLASH_EraseInitTypeDef EraseInitStruct;
  uint32_t PAGEError = 0;
  EraseInitStruct.TypeErase = FLASH_TYPEERASE_PAGES;
  EraseInitStruct.Banks = FLASH_BANK_1;
  EraseInitStruct.Page = Get_Page(address);
  EraseInitStruct.NbPages = 1;
  HAL_FLASHEx_Erase(&EraseInitStruct, &PAGEError);
  __disable_irq();
  for (int i = 0; i < size; i++)
  {
    HAL_FLASH_Program(FLASH_TYPEPROGRAM_DOUBLEWORD, address, data[i]);
    address += 8;
  }
  __enable_irq();
  HAL_FLASH_Lock();
}

uint32_t Read_Flash(uint32_t address)
{
  return *(__IO uint32_t *)address;
}

/**
  * @brief  Gets the page of a given address
  * @param  Addr: Address of the FLASH Memory
  * @retval The page of a given address
  */
static uint32_t Get_Page(uint32_t Addr)
{
  uint32_t page = 0;

  if (Addr < (FLASH_BASE + FLASH_BANK_SIZE))
  {
    /* Bank 1 */
    page = (Addr - FLASH_BASE) / FLASH_PAGE_SIZE;
  }
  else
  {
    /* Bank 2 */
    page = (Addr - (FLASH_BASE + FLASH_BANK_SIZE)) / FLASH_PAGE_SIZE;
  }

  return page;
}

void load_Calibration(void)
{
  if (Read_Flash(FLASH_USER_ADDR) == 0xDEAD)
  {
    uint32_t address = FLASH_USER_ADDR + 8;
    for (int i = 0; i < 7; i++)
    {
      adcCalibration[i] = (int32_t)Read_Flash(address);
      address += 8;
    }
    dacCalibration = (int32_t)Read_Flash(address);
    address += 8;
    //TRIGGER_HOLD = (uint8_t)Read_Flash(address);
    address += 8;
    //RANDOM = (uint8_t)Read_Flash(address);
    address += 8;
    //CYCLE_START = (uint8_t)Read_Flash(address);
    address += 8;
    //RETRIGGER = (uint8_t)Read_Flash(address);
  }
  else
  {
    log("No Calibration Data");
  }
}

void save_Calibration(void)
{
  uint32_t flashData[11] = {0};
  flashData[0] = 0xDEAD;
  for (int i = 0; i < 7; i++)
  {
    flashData[i + 1] = adcCalibration[i];
  }
  flashData[8] = dacCalibration;
  flashData[9] = TRIGGER_HOLD;
  flashData[10] = RANDOM;
  Write_Flash(FLASH_USER_ADDR, flashData, 11);
}

/* USER CODE END 4 */

void Error_Handler(void)
{
}

/************************ (C) COPYRIGHT STMicroelectronics *****END OF FILE****/
